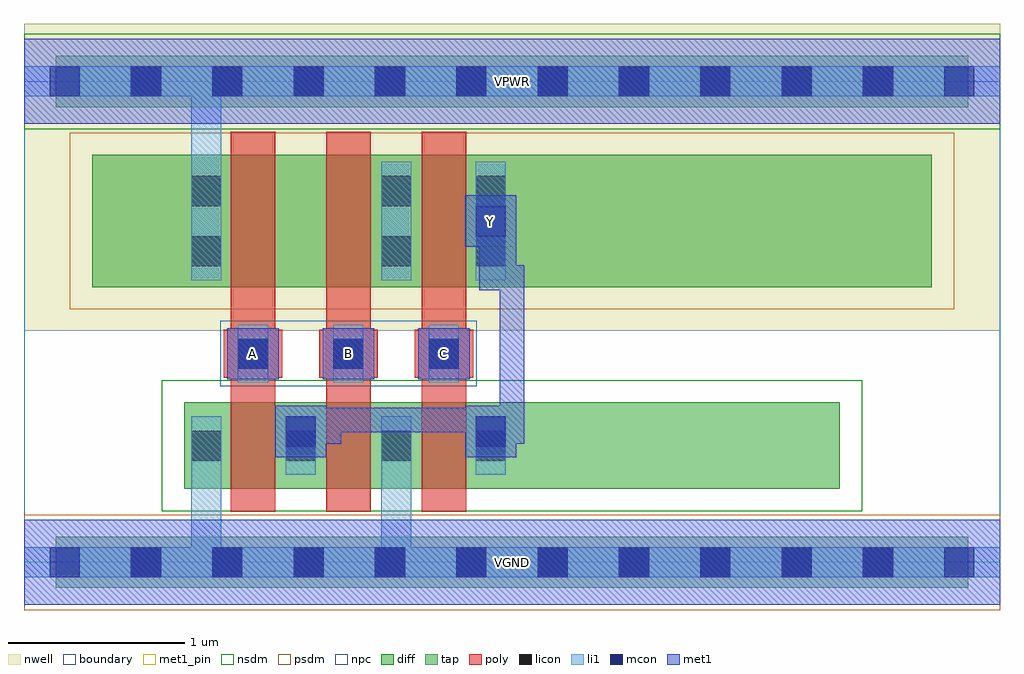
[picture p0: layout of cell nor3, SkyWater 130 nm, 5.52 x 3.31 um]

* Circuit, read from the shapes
.subckt nor3 A B C VGND VPWR Y
XM1 Y A VGND VGND sky130_fd_pr__nfet_01v8 w=0.49 l=0.25
XM2 VGND B Y VGND sky130_fd_pr__nfet_01v8 w=0.49 l=0.25
XM3 Y C VGND VGND sky130_fd_pr__nfet_01v8 w=0.49 l=0.25
XM4 n1 A VPWR VPWR sky130_fd_pr__pfet_01v8 w=0.75 l=0.25
XM5 n2 B n1 VPWR sky130_fd_pr__pfet_01v8 w=0.75 l=0.25
XM6 Y C n2 VPWR sky130_fd_pr__pfet_01v8 w=0.75 l=0.25
.ends

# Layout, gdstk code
import gdstk
lib = gdstk.Library(unit=1e-6, precision=1e-09)
def R(c, l, rs):  # rectangles x0, y0, x1, y1
    for r in rs: c.add(gdstk.rectangle(r[:2], r[2:], *l))
def A(c, l, x, y, w, h, nx, ny, dx, dy):  # array of equal rectangles
    R(c, l, [(x+i*dx, y+j*dy, x+i*dx+w, y+j*dy+h) for i in range(nx) for j in range(ny)])
nwell = (64, 20)
diff = (65, 20)
tap = (65, 44)
poly = (66, 20)
licon = (66, 44)
li1 = (67, 20)
mcon = (67, 44)
met1_pin = (68, 16)
met1 = (68, 20)
nsdm = (93, 44)
psdm = (94, 20)
npc = (95, 20)
boundary = (235, 4)

nor3 = lib.new_cell('nor3')
R(nor3, nwell, [(0,1.31,5.52,3.045)])
R(nor3, diff, [(0.905,0.415,4.615,0.905), (0.385,1.555,5.135,2.305)])
R(nor3, tap, [(0.18,-0.145,5.34,0.145), (0.18,2.575,5.34,2.865)])
A(nor3, poly, 1.17, 0.285, 0.25, 2.15, 3, 1, 0.54, 0)
A(nor3, poly, 1.13, 1.045, 0.33, 0.27, 3, 1, 0.54, 0)
A(nor3, licon, 0.605, -0.085, 0.17, 0.17, 10, 2, 0.46, 2.72)
A(nor3, licon, 1.21, 1.095, 0.17, 0.17, 3, 1, 0.54, 0)
R(nor3, licon, [(0.945,0.575,1.115,0.745), (1.48,0.575,1.65,0.745), (2.02,0.575,2.19,0.745), (2.555,0.575,2.725,0.745), (0.945,1.675,1.115,1.845), (2.02,1.675,2.19,1.845), (2.555,1.675,2.725,1.845), (0.945,2.015,1.115,2.185), (2.02,2.015,2.19,2.185), (2.555,2.015,2.725,2.185)])
A(nor3, li1, 1.21, 1.015, 0.17, 0.33, 3, 1, 0.54, 0)
R(nor3, li1, [(0,-0.085,5.52,0.085), (0.945,-0.085,1.115,0.825), (2.02,-0.085,2.19,0.825), (0.945,0.495,1.115,0.825), (1.48,0.495,1.65,0.825), (2.02,0.495,2.19,0.825), (2.555,0.495,2.725,0.825), (0.945,1.595,1.115,2.265), (0.945,1.595,1.115,2.805), (2.02,1.595,2.19,2.265), (2.555,1.595,2.725,2.265), (0,2.635,5.52,2.805)])
A(nor3, mcon, 0.145, -0.085, 0.17, 0.17, 12, 2, 0.46, 2.72)
A(nor3, mcon, 1.21, 1.095, 0.17, 0.17, 3, 1, 0.54, 0)
R(nor3, mcon, [(1.48,0.655,1.65,0.825), (2.555,0.655,2.725,0.825), (2.555,1.845,2.725,2.015)])
A(nor3, met1_pin, 1.15, 1.035, 0.29, 0.29, 3, 1, 0.54, 0)
R(nor3, met1_pin, [(0,-0.24,5.52,0.24), (2.495,1.785,2.785,2.075), (0,2.48,5.52,2.96)])
A(nor3, met1, 1.15, 1.035, 0.29, 0.29, 3, 1, 0.54, 0)
R(nor3, met1, [(0,-0.24,5.52,0.24), (1.42,0.595,1.71,0.885), (2.495,0.595,2.785,0.885), (1.495,0.67,1.795,0.81), (1.655,0.67,1.795,0.875), (2.57,0.67,2.83,0.81), (2.69,0.67,2.83,0.99), (1.655,0.735,2.83,0.875), (2.69,0.735,2.83,0.99), (2.69,0.85,2.83,1.68), (2.575,1.54,2.715,2.025), (2.575,1.54,2.83,1.68), (2.575,1.68,2.785,1.785), (2.69,1.68,2.785,1.785), (2.495,1.785,2.785,2.075), (2.575,1.885,2.715,2.025), (0,2.48,5.52,2.96)])
R(nor3, nsdm, [(0.78,0.29,4.74,1.03), (0,2.45,5.52,2.99)])
R(nor3, psdm, [(0,-0.27,5.52,0.27), (0.26,1.43,5.26,2.43)])
R(nor3, npc, [(1.11,0.995,2.56,1.365)])
R(nor3, boundary, [(0,0,5.52,2.72)])
nor3.add(gdstk.Label('A', (1.295,1.18), layer=68, texttype=5))
nor3.add(gdstk.Label('B', (1.835,1.18), layer=68, texttype=5))
nor3.add(gdstk.Label('C', (2.375,1.18), layer=68, texttype=5))
nor3.add(gdstk.Label('Y', (2.64,1.93), layer=68, texttype=5))
nor3.add(gdstk.Label('VPWR', (2.76,2.72), layer=68, texttype=5))
nor3.add(gdstk.Label('VGND', (2.76,0), layer=68, texttype=5))
nor3.add(gdstk.Label('A', (1.295,1.18), layer=68, texttype=16))
nor3.add(gdstk.Label('B', (1.835,1.18), layer=68, texttype=16))
nor3.add(gdstk.Label('C', (2.375,1.18), layer=68, texttype=16))
nor3.add(gdstk.Label('Y', (2.64,1.93), layer=68, texttype=16))
nor3.add(gdstk.Label('VPWR', (2.76,2.72), layer=68, texttype=16))
nor3.add(gdstk.Label('VGND', (2.76,0), layer=68, texttype=16))

lib.write_gds('nor3.gds')
